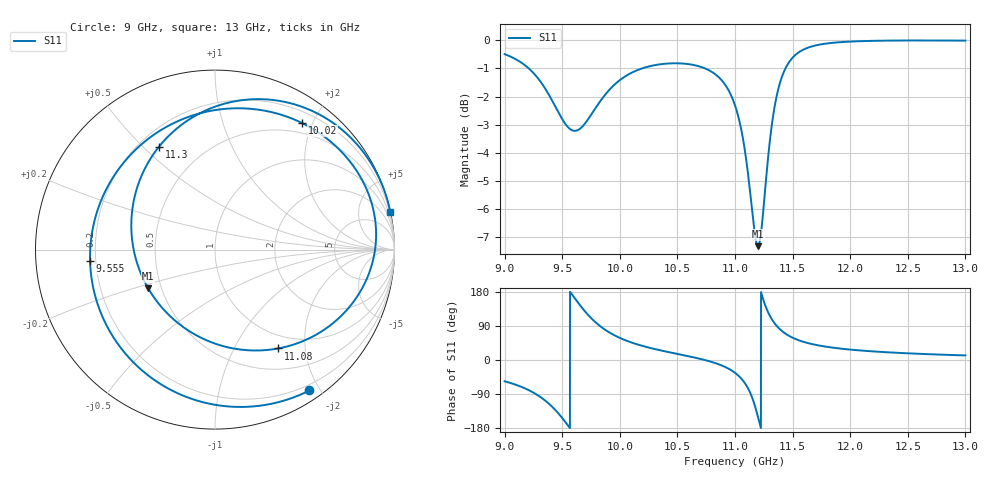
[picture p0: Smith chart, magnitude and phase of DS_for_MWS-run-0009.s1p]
! TOUCHSTONE file generated by CST DESIGN STUDIO
! Date and time: Tue Feb  4 14:35:53 2025
! Project name: C:\Work\MatlabApps\UnitCellOptimizationMatlab\CST\unitcell.cst
! Tree item: Tasks\Sweep1\SPara1\S-Parameters
! Header version: 2024
! Port assignment regex: !\s*Touchstone port\s*([0-9]+)\s*=\s*(CST MWS port|CST DES external port|CST DES block port)\s*(.+)\s* \(\"(.*)\"\)(\s*mode\s*([0-9]+))?.*
! Touchstone port assignment:
! Touchstone port 1 = CST DES external port 1 ("")
# GHz S MA R 50
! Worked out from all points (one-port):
!   4001 points, 9 GHz to 13 GHz, reference 50 ohm
!   lowest |S11| = -7.3 dB at 11.2 GHz (marker M1), VSWR 2.51, Z = 21.1 - j11.2 ohm
!   |S11| at or under -10 dB: nowhere
!   S11 on the Smith chart (normalised r, x): 9 GHz: 0.13, -1.87; 9.555 GHz: 0.18, -0.05; 10.02 GHz: 0.35, +1.85; 11.08 GHz: 0.79, -1.53; 11.3 GHz: 0.28, +0.56; 13 GHz: 0.05, +9.45
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9  0.9449 -56.1
9.158  0.9089 -72.4
9.308  0.8464 -97.1
9.406  0.7858 -121.4
9.5  0.7242 -152.9
9.555  0.699 -174.7
9.641  0.6932 149.9
9.756  0.7398 109.0
9.859  0.7937 82.6
10  0.8495 58.3
10.021  0.8557 55.5
10.227  0.8957 34.7
10.5  0.9102 16.0
10.819  0.8732 -7.1
10.921  0.8299 -19.3
11  0.7661 -33.8
11.077  0.6541 -57.3
11.142  0.512 -93.8
11.199  0.4303 -149.9
11.246  0.4988 158.7
11.299  0.6525 118.6
11.336  0.7455 100.0
11.378  0.8226 84.7
11.5  0.9314 58.8
11.689  0.9781 40.7
12  0.9949 27.5
12.5  0.9994 17.6
13  0.9989 12.1
